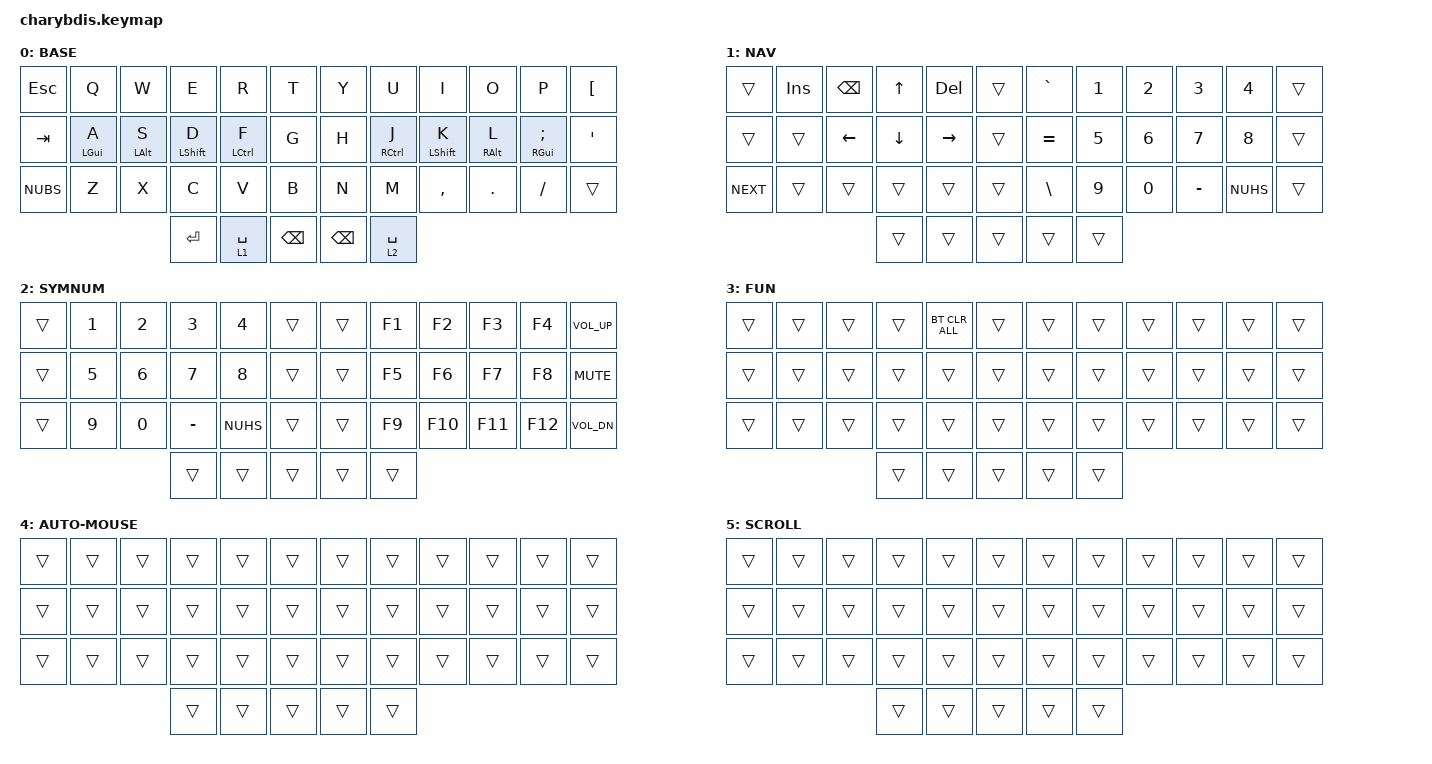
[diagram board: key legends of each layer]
#include <behaviors/mouse_keys.dtsi>
#include <behaviors.dtsi>
#include <dt-bindings/zmk/bt.h>
#include <dt-bindings/zmk/keys.h>
#include <dt-bindings/zmk/mouse.h>
#include <dt-bindings/zmk/outputs.h>

#define U_TAPPING_TERM 240

/ {
    chosen { zmk,matrix_transform = &default_transform; };
};

/ {
    combos {
        compatible = "zmk,combos";

        LeftClickRight {
            bindings = <&mkp LCLK>;
            key-positions = <19 20>;
        };

        RightClickRight {
            bindings = <&mkp RCLK>;
            key-positions = <20 21>;
        };

        MiddleClickRight {
            bindings = <&mkp MCLK>;
            key-positions = <21 22>;
        };

    };
    behaviors {
        u_mt: u_mt {
            compatible = "zmk,behavior-hold-tap";
            #binding-cells = <2>;
            tapping_term_ms = <U_TAPPING_TERM>;
            flavor = "tap-preferred";
            bindings = <&kp>, <&kp>;
        };

        u_lt: u_lt {
            compatible = "zmk,behavior-hold-tap";
            #binding-cells = <2>;
            tapping_term_ms = <U_TAPPING_TERM>;
            flavor = "tap-preferred";
            bindings = <&mo>, <&kp>;
        };

    };

    keymap {
        compatible = "zmk,keymap";

        BASE {
            bindings = <
&kp ESC     &kp Q             &kp W             &kp E               &kp R          &kp T                  &kp Y       &kp U          &kp I               &kp O              &kp P                  &kp LBKT
&kp TAB     &u_mt LEFT_GUI A  &u_mt LEFT_ALT S  &u_mt LEFT_SHIFT D  &u_mt LCTRL F  &kp G                  &kp H       &u_mt RCTRL J  &u_mt LEFT_SHIFT K  &u_mt RIGHT_ALT L  &u_mt RIGHT_GUI SEMI   &kp APOS
&kp NUBS    &kp Z             &kp X             &kp C               &kp V          &kp B                  &kp N       &kp M          &kp COMMA           &kp DOT            &kp FSLH               &trans
                                                &kp ENTER           &lt 1 SPACE    &kp BSPC               &kp BSPC    &lt 2 SPACE
            >;
        };

        NAV {
            bindings = <
&trans      &kp INS           &kp BSPC          &kp UP              &kp DEL        &trans                  &kp GRAVE  &kp N1         &kp N2              &kp N3             &kp N4                &trans
&trans      &trans            &kp LEFT          &kp DOWN            &kp RIGHT      &trans                  &kp EQUAL  &kp N5         &kp N6              &kp N7             &kp N8                &trans
&kp C_NEXT  &trans            &trans            &trans              &trans         &trans                  &kp BSLH   &kp N9         &kp N0              &kp MINUS          &kp NUHS              &trans
                                                &trans              &trans         &trans                  &trans     &trans
            >;
        };

        SYMNUM {
            bindings = <
&trans      &kp N1            &kp N2            &kp N3              &kp N4         &trans                  &trans     &kp F1         &kp F2              &kp F3             &kp F4                &kp C_VOL_UP
&trans      &kp N5            &kp N6            &kp N7              &kp N8         &trans                  &trans     &kp F5         &kp F6              &kp F7             &kp F8                &kp C_MUTE
&trans      &kp N9            &kp N0            &kp MINUS           &kp NUHS       &trans                  &trans     &kp F9         &kp F10             &kp F11            &kp F12               &kp C_VOL_DN
                                                &trans              &trans         &trans                  &trans     &trans
            >;
        };

        FUN {
            bindings = <
&trans      &trans            &trans            &trans              &bt BT_CLR_ALL &trans                  &trans     &trans         &trans              &trans             &trans                &trans
&trans      &trans            &trans            &trans              &trans         &trans                  &trans     &trans         &trans              &trans             &trans                &trans
&trans      &trans            &trans            &trans              &trans         &trans                  &trans     &trans         &trans              &trans             &trans                &trans
                                                &trans              &trans         &trans                  &trans     &trans
            >;
        };

        AUTO-MOUSE {
            bindings = <
&trans      &trans            &trans            &trans              &trans         &trans                  &trans     &trans         &trans              &trans             &trans                &trans
&trans      &trans            &trans            &trans              &trans         &trans                  &trans     &trans         &trans              &trans             &trans                &trans
&trans      &trans            &trans            &trans              &trans         &trans                  &trans     &trans         &trans              &trans             &trans                &trans
                                                &trans              &trans         &trans                  &trans     &trans
            >;
        };

        SCROLL {
            bindings = <
&trans      &trans            &trans            &trans              &trans         &trans                  &trans     &trans         &trans              &trans             &trans                &trans
&trans      &trans            &trans            &trans              &trans         &trans                  &trans     &trans         &trans              &trans             &trans                &trans
&trans      &trans            &trans            &trans              &trans         &trans                  &trans     &trans         &trans              &trans             &trans                &trans
                                                &trans              &trans         &trans                  &trans     &trans
            >;
        };
    };
};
